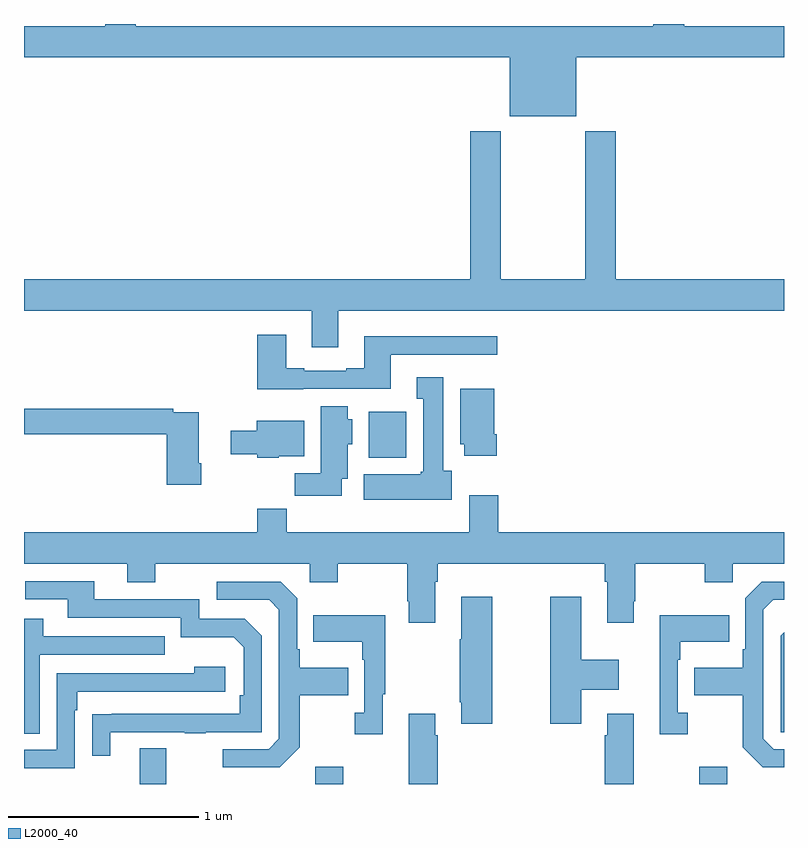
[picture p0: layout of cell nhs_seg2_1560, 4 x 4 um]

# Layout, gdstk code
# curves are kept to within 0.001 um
import gdstk
lib = gdstk.Library(unit=1e-6, precision=1e-09)
def R(c, l, rs):  # rectangles x0, y0, x1, y1
    for r in rs: c.add(gdstk.rectangle(r[:2], r[2:], *l))
def P(c, l, *ps):  # polygons
    for p in ps: c.add(gdstk.Polygon(p, *l))
L2000_40 = (2000, 40)

nhs_seg2_1560 = lib.new_cell('nhs_seg2_1560')
R(nhs_seg2_1560, L2000_40, [(191.609,655.8,191.749,655.987), (192.533,655.8,192.681,655.891), (194.554,655.8,194.701,655.891), (192.815,657.518,193.012,657.76)])
P(nhs_seg2_1560, L2000_40, [(193.906,659.624),(195,659.624),(195,659.788),(194.476,659.788),(194.476,659.8),(194.312,659.8),(194.312,659.788),(191.588,659.788),(191.588,659.8),(191.428,659.8),(191.428,659.788),(191,659.788),(191,659.624),(193.556,659.624),(193.556,659.315),(193.906,659.315)],
  [(192.655,658.292),(195,658.292),(195,658.456),(194.114,658.456),(194.114,659.236),(193.954,659.236),(193.954,658.456),(193.509,658.456),(193.509,659.236),(193.349,659.236),(193.349,658.456),(191,658.456),(191,658.292),(192.515,658.292),(192.515,658.098),(192.655,658.098)],
  [(192.471,657.879),(192.931,657.879),(192.931,658.059),(193.492,658.059),(193.492,658.156),(192.791,658.156),(192.791,657.988),(192.695,657.988),(192.695,657.975),(192.475,657.975),(192.475,657.988),(192.379,657.988),(192.379,658.165),(192.227,658.165),(192.227,657.878),(192.471,657.878)],
  [(193.252,657.45),(193.207,657.45),(193.207,657.94),(193.067,657.94),(193.067,657.827),(193.1,657.827),(193.1,657.444),(193.087,657.444),(193.087,657.43),(192.788,657.43),(192.788,657.296),(193.252,657.296)],
  [(193.487,657.64),(193.474,657.64),(193.474,657.88),(193.295,657.88),(193.295,657.588),(193.316,657.588),(193.316,657.528),(193.487,657.528)],
  [(192.673,657.407),(192.703,657.407),(192.703,657.588),(192.727,657.588),(192.727,657.72),(192.703,657.72),(192.703,657.787),(192.563,657.787),(192.563,657.436),(192.424,657.436),(192.424,657.318),(192.673,657.318)],
  [(191.933,657.487),(191.92,657.487),(191.92,657.756),(191.786,657.756),(191.786,657.776),(191,657.776),(191,657.64),(191.75,657.64),(191.75,657.375),(191.933,657.375)],
  [(192.342,657.524),(192.475,657.524),(192.475,657.712),(192.224,657.712),(192.224,657.658),(192.087,657.658),(192.087,657.536),(192.228,657.536),(192.228,657.518),(192.342,657.518)],
  [(193.165,656.864),(193.178,656.864),(193.178,656.96),(194.057,656.96),(194.057,656.864),(194.069,656.864),(194.069,656.649),(194.209,656.649),(194.209,656.761),(194.217,656.761),(194.217,656.96),(194.584,656.96),(194.584,656.861),(194.73,656.861),(194.73,656.96),(195,656.96),(195,657.124),(193.496,657.124),(193.496,657.319),(193.343,657.319),(193.343,657.124),(192.383,657.124),(192.383,657.248),(192.227,657.248),(192.227,657.124),(191,657.124),(191,656.96),(191.543,656.96),(191.543,656.861),(191.691,656.861),(191.691,656.96),(192.504,656.96),(192.504,656.861),(192.651,656.861),(192.651,656.96),(193.018,656.96),(193.018,656.761),(193.025,656.761),(193.025,656.649),(193.165,656.649)],
  [(191.455,656.073),(191.845,656.073),(191.845,656.068),(191.957,656.068),(191.957,656.073),(192.252,656.073),(192.252,656.58),(192.162,656.67),(191.922,656.67),(191.922,656.772),(191.371,656.772),(191.371,656.868),(191.007,656.868),(191.007,656.772),(191.231,656.772),(191.231,656.676),(191.826,656.676),(191.826,656.573),(192.103,656.573),(192.156,656.52),(192.156,656.266),(192.136,656.266),(192.136,656.169),(191.359,656.168),(191.359,655.95),(191.455,655.95)],
  [(195,655.983),(194.946,655.983),(194.892,656.037),(194.892,656.718),(194.943,656.769),(195,656.769),(195,656.865),(194.883,656.865),(194.796,656.778),(194.796,656.509),(194.784,656.509),(194.784,656.413),(194.527,656.413),(194.527,656.266),(194.784,656.266),(194.784,655.993),(194.889,655.887),(195,655.887)],
  [(192.451,655.993),(192.451,656.266),(192.707,656.266),(192.707,656.413),(192.451,656.413),(192.451,656.509),(192.438,656.509),(192.438,656.778),(192.351,656.865),(192.015,656.865),(192.015,656.769),(192.291,656.769),(192.342,656.718),(192.342,656.037),(192.288,655.983),(192.045,655.983),(192.045,655.887),(192.345,655.887)],
  [(193.464,656.785),(193.301,656.785),(193.301,656.561),(193.294,656.561),(193.294,656.23),(193.301,656.23),(193.301,656.118),(193.464,656.118)],
  [(193.933,656.297),(194.131,656.297),(194.131,656.455),(193.933,656.455),(193.933,656.785),(193.771,656.785),(193.771,656.118),(193.933,656.118)],
  [(194.494,656.174),(194.442,656.174),(194.442,656.453),(194.455,656.453),(194.455,656.549),(194.711,656.549),(194.711,656.689),(194.345,656.689),(194.345,656.061),(194.494,656.061)],
  [(192.889,656.273),(192.901,656.273),(192.901,656.689),(192.523,656.689),(192.523,656.549),(192.78,656.549),(192.78,656.453),(192.792,656.453),(192.792,656.174),(192.741,656.174),(192.741,656.061),(192.889,656.061)],
  [(191.082,656.481),(191.741,656.481),(191.741,656.577),(191.101,656.577),(191.101,656.671),(191,656.671),(191,656.065),(191.082,656.065)],
  [(195,656.598),(194.982,656.58),(194.982,656.073),(195,656.073)],
  [(191.268,656.189),(191.281,656.189),(191.281,656.286),(192.058,656.286),(192.058,656.416),(191.897,656.416),(191.897,656.382),(191.172,656.382),(191.172,655.98),(191,655.98),(191,655.884),(191.268,655.884)],
  [(193.178,656.057),(193.165,656.057),(193.165,656.17),(193.025,656.17),(193.025,655.8),(193.178,655.8)],
  [(194.209,656.17),(194.069,656.17),(194.069,656.057),(194.057,656.057),(194.057,655.8),(194.209,655.8)])

lib.write_gds('nhs_seg2_1560.gds')
